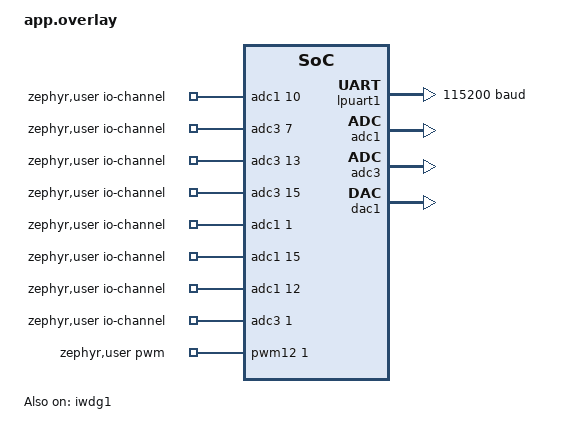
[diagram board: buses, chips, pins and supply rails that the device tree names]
/ {
    aliases {
        watchdog0 = &iwdg1;
    };

    chosen {
        zephyr,console = &lpuart1;
        zephyr,shell-uart = &lpuart1;
        zephyr,crc = &crc;
        zephyr,code-partition = &slot0_partition;
    };

    zephyr,user {
        io-channels =
            <&adc1 10>,  /* 0: PUMP-ADC (ADC1_INP10) */
            <&adc3 7>,   /* 1: FORCE-ADC(1) (ADC3_INP7) */
            <&adc3 13>,  /* 2: FORCE-ADC(2) (ADC3_INP13) */
            <&adc3 15>,  /* 3: FORCE-ADC(3) (ADC3_INP15) */
            <&adc1 1>,   /* 4: TEMP-FD-ADC (ADC1_INP1) */
            <&adc1 15>,  /* 5: TEMP-MB-ADC (ADC1_INP15) */
            <&adc1 12>,  /* 6: ADC1_INP12 */
            <&adc3 1>;   /* 7: ADC3_INP1 */

        dac = <&dac1>;
        dac_channel_id = <0>;     /* 0 => OUT1 in Zephyr STM32 DAC driver */
        dac_resolution = <12>;

        pwms =
            <&pwm12 1 PWM_MSEC(20) PWM_POLARITY_NORMAL>;
    };

};

&iwdg1 {
    status = "okay";
};

&lpuart1 {
    status = "okay";
    current-speed = <115200>;
};


&adc1 {
    status = "okay";
    st,adc-clock-source = "SYNC";
    st,adc-prescaler = <1>;
};

&adc3 {
    status = "okay";
    st,adc-clock-source = "SYNC";
    st,adc-prescaler = <1>;
};

&dac1 {
    status = "okay";
};

/* MCUboot flash partitions (1MB M7 flash @ 0x08000000) */
&flash0 {
    partitions {
        compatible = "fixed-partitions";
        #address-cells = <1>;
        #size-cells = <1>;
        ranges;

        boot_partition: partition@0 {
            label = "mcuboot";
            reg = <0x00000000 DT_SIZE_K(64)>;
            read-only;
        };

        slot0_partition: partition@10000 {
            label = "image-0";
            reg = <0x00010000 DT_SIZE_K(448)>;
        };

        slot1_partition: partition@80000 {
            label = "image-1";
            reg = <0x00080000 DT_SIZE_K(448)>;
        };

        storage_partition: partition@f0000 {
            label = "storage";
            reg = <0x000f0000 DT_SIZE_K(64)>;
        };
    };
};
